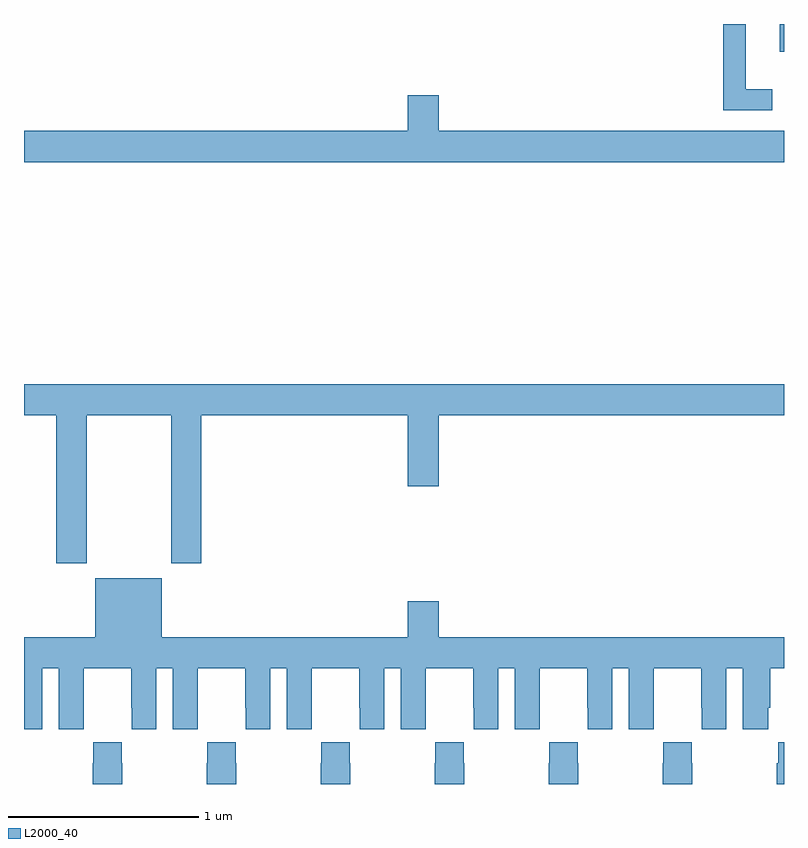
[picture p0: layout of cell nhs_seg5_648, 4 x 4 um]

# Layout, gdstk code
import gdstk
lib = gdstk.Library(unit=1e-6, precision=1e-09)
def R(c, l, rs):  # rectangles x0, y0, x1, y1
    for r in rs: c.add(gdstk.rectangle(r[:2], r[2:], *l))
def P(c, l, *ps):  # polygons
    for p in ps: c.add(gdstk.Polygon(p, *l))
L2000_40 = (2000, 40)

nhs_seg5_648 = lib.new_cell('nhs_seg5_648')
R(nhs_seg5_648, L2000_40, [(154.977,878.652,155,878.799)])
P(nhs_seg5_648, L2000_40, [(154.939,878.455),(154.799,878.455),(154.799,878.799),(154.681,878.799),(154.681,878.346),(154.939,878.346)],
  [(155,878.236),(153.184,878.236),(153.184,878.425),(153.02,878.425),(153.02,878.236),(151,878.236),(151,878.072),(155,878.072)],
  [(151.329,876.74),(151.774,876.74),(151.774,875.961),(151.934,875.961),(151.934,876.74),(153.02,876.74),(153.02,876.366),(153.184,876.366),(153.184,876.74),(155,876.74),(155,876.904),(151,876.904),(151,876.74),(151.169,876.74),(151.169,875.961),(151.329,875.961)],
  [(153.184,875.761),(153.02,875.761),(153.02,875.572),(151.726,875.572),(151.726,875.881),(151.376,875.881),(151.376,875.572),(151,875.572),(151,875.088),(151.096,875.088),(151.096,875.408),(151.184,875.408),(151.184,875.088),(151.314,875.088),(151.314,875.2),(151.315,875.2),(151.315,875.408),(151.565,875.408),(151.565,875.2),(151.566,875.2),(151.566,875.088),(151.696,875.088),(151.696,875.408),(151.784,875.408),(151.784,875.088),(151.914,875.088),(151.914,875.2),(151.915,875.2),(151.915,875.408),(152.165,875.408),(152.165,875.2),(152.166,875.2),(152.166,875.088),(152.296,875.088),(152.296,875.408),(152.384,875.408),(152.384,875.088),(152.514,875.088),(152.514,875.2),(152.515,875.2),(152.515,875.408),(152.765,875.408),(152.765,875.2),(152.766,875.2),(152.766,875.088),(152.896,875.088),(152.896,875.408),(152.984,875.408),(152.984,875.088),(153.114,875.088),(153.114,875.2),(153.115,875.2),(153.115,875.408),(153.365,875.408),(153.365,875.2),(153.366,875.2),(153.366,875.088),(153.496,875.088),(153.496,875.408),(153.584,875.408),(153.584,875.088),(153.714,875.088),(153.714,875.2),(153.715,875.2),(153.715,875.408),(153.965,875.408),(153.965,875.2),(153.966,875.2),(153.966,875.088),(154.096,875.088),(154.096,875.408),(154.184,875.408),(154.184,875.088),(154.314,875.088),(154.314,875.2),(154.315,875.2),(154.315,875.408),(154.565,875.408),(154.565,875.2),(154.566,875.2),(154.566,875.088),(154.696,875.088),(154.696,875.408),(154.784,875.408),(154.784,875.088),(154.918,875.088),(154.918,875.2),(154.928,875.2),(154.928,875.408),(155,875.408),(155,875.572),(153.184,875.572)],
  [(153.318,874.907),(153.315,874.907),(153.315,875.02),(153.165,875.02),(153.165,874.907),(153.163,874.907),(153.163,874.799),(153.318,874.799)],
  [(154.518,874.907),(154.515,874.907),(154.515,875.02),(154.365,875.02),(154.365,874.907),(154.363,874.907),(154.363,874.799),(154.518,874.799)],
  [(153.918,874.907),(153.915,874.907),(153.915,875.02),(153.765,875.02),(153.765,874.907),(153.763,874.907),(153.763,874.799),(153.918,874.799)],
  [(151.518,874.907),(151.515,874.907),(151.515,875.02),(151.365,875.02),(151.365,874.907),(151.363,874.907),(151.363,874.799),(151.518,874.799)],
  [(152.718,874.907),(152.715,874.907),(152.715,875.02),(152.565,875.02),(152.565,874.907),(152.563,874.907),(152.563,874.799),(152.718,874.799)],
  [(155,875.02),(154.969,875.02),(154.969,874.907),(154.963,874.907),(154.963,874.799),(155,874.799)],
  [(152.118,874.907),(152.115,874.907),(152.115,875.02),(151.965,875.02),(151.965,874.907),(151.963,874.907),(151.963,874.799),(152.118,874.799)])

lib.write_gds('nhs_seg5_648.gds')
